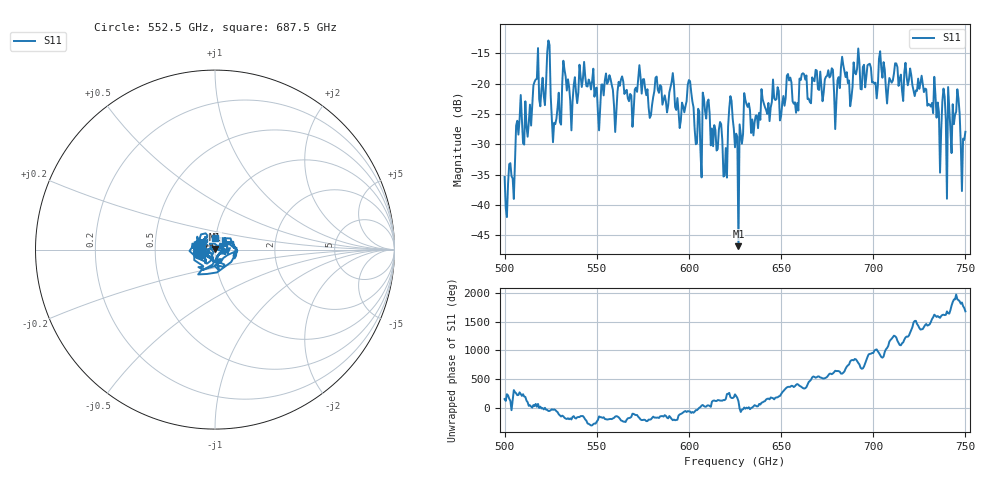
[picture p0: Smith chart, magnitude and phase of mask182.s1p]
!Created with skrf (http://scikit-rf.org).
# GHz S MA R 50.0
!freq magS11 angS11
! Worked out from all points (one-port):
!   401 points, 500 GHz to 750 GHz, reference 50 ohm
!   lowest |S11| = -46.8 dB at 626.9 GHz (marker M1), VSWR 1.01, Z = 49.8 + j0.416 ohm
!   |S11| at or under -10 dB: start of sweep to end of sweep
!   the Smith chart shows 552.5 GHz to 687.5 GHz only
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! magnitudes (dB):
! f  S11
! 500 GHz  -35.4
! 513.1 GHz  -26.4
! 516.9 GHz  -19.3
! 520.6 GHz  -19.0
! 523.8 GHz  -12.9
! 526.9 GHz  -26.4
! 531.2 GHz  -20.0
! 562.5 GHz  -20.3
! 579.4 GHz  -25.2
! 590.6 GHz  -19.7
! 593.8 GHz  -22.4
! 600.6 GHz  -19.6
! 605.6 GHz  -24.6
! 608.8 GHz  -24.5
! 619.4 GHz  -35.2
! 622.5 GHz  -22.0
! 625 GHz  -30.5
! 626.9 GHz  -46.8
! 631.2 GHz  -23.4
! 635 GHz  -28.5
! 656.2 GHz  -22.9
! 676.9 GHz  -18.7
! 680 GHz  -23.0
! 683.8 GHz  -16.9
! 687.5 GHz  -23.7
! 690.6 GHz  -18.4
! 718.8 GHz  -20.3
! 750 GHz  -27.9
